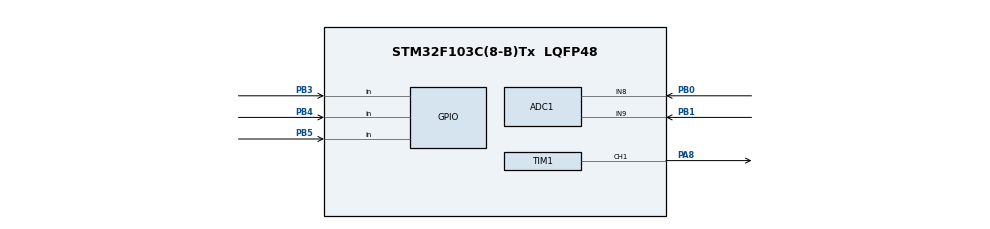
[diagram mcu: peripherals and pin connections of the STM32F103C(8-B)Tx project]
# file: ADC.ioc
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ADC1.Channel-4\#ChannelRegularConversion=ADC_CHANNEL_9
ADC1.Channel-6\#ChannelRegularConversion=ADC_CHANNEL_8
ADC1.ContinuousConvMode=DISABLE
ADC1.DiscontinuousConvMode=DISABLE
ADC1.NbrOfConversion=2
ADC1.NbrOfConversionFlag=1
ADC1.Rank-4\#ChannelRegularConversion=1
ADC1.Rank-6\#ChannelRegularConversion=2
ADC1.SamplingTime-4\#ChannelRegularConversion=ADC_SAMPLETIME_28CYCLES_5
ADC1.SamplingTime-6\#ChannelRegularConversion=ADC_SAMPLETIME_1CYCLE_5
ADC1.master=1
FREERTOS.BinarySemaphores01=LCD_Semaphoer,Dynamic,NULL
FREERTOS.Events01=window,Dynamic,NULL
FREERTOS.Queues01=Passwors,4,uint8_t,0,Dynamic,NULL,NULL;TempQueue,3,uint32_t,0,Dynamic,NULL,NULL;GasQueue,16,uint32_t,0,Dynamic,NULL,NULL
FREERTOS.Tasks01=KeypadTask,9,128,Keypad_Task,Default,NULL,Dynamic,NULL,NULL;Password,24,128,Password_Task,Default,NULL,Dynamic,NULL,NULL;TempTask,8,128,Temperature_Task,Default,NULL,Dynamic,NULL,NULL;lightTask,8,128,Light_Task,Default,NULL,Dynamic,NULL,NULL;Window,25,64,Window_Task,Default,NULL,Dynamic,NULL,NULL
FREERTOS.configMINIMAL_STACK_SIZE=64
FREERTOS.configTOTAL_HEAP_SIZE=4072
Mcu.Family=STM32F1
Mcu.Name=STM32F103C(8-B)Tx
Mcu.Package=LQFP48
NVIC.ADC1_2_IRQn=true\:5\:0\:false\:false\:true\:true\:true\:true\:true
NVIC.PriorityGroup=NVIC_PRIORITYGROUP_4
PA8.Signal=S_TIM1_CH1
PB0.Signal=ADCx_IN8
PB1.Signal=ADCx_IN9
PB3.Signal=GPIO_Input
PB4.Signal=GPIO_Input
PB5.Signal=GPIO_Input
ProjectManager.HeapSize=0x200
ProjectManager.StackSize=0x400
ProjectManager.TargetToolchain=STM32CubeIDE
RCC.APB1Freq_Value=8000000
RCC.APB2Freq_Value=8000000
RCC.USBFreq_Value=8000000
SH.ADCx_IN8.0=ADC1_IN8,IN8
SH.ADCx_IN9.0=ADC1_IN9,IN9
SH.S_TIM1_CH1.0=TIM1_CH1,PWM Generation1 CH1
TIM1.AutoReloadPreload=TIM_AUTORELOAD_PRELOAD_ENABLE
TIM1.Channel-PWM\ Generation1\ CH1=TIM_CHANNEL_1
VP_FREERTOS_VS_CMSIS_V2.Mode=CMSIS_V2
VP_TIM1_VS_ClockSourceINT.Mode=Internal
board=custom

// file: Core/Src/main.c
/* USER CODE BEGIN Header */
/**
  ******************************************************************************
  * @file           : main.c
  * @brief          : Main program body
  ******************************************************************************
  * @attention
  *
  * Copyright (c) 2023 STMicroelectronics.
  * All rights reserved.
  *
  * This software is licensed under terms that can be found in the LICENSE file
  * in the root directory of this software component.
  * If no LICENSE file comes with this software, it is provided AS-IS.
  *
  ******************************************************************************
  */
/* USER CODE END Header */
#include "main.h"
#include "cmsis_os.h"
#include "adc.h"
#include "tim.h"
#include "gpio.h"

/* USER CODE BEGIN Includes */
#include "LCD_interface.h"
#include "RCC_interface.h"
#include "queue.h"
/* USER CODE END Includes */

/* USER CODE BEGIN PV */
extern osMessageQueueId_t TempQueueHandle;
extern osMessageQueueId_t GasQueueHandle;

/* USER CODE END PV */

void SystemClock_Config(void);
void MX_FREERTOS_Init(void);

int main(void)
{

  /* MCU Configuration--------------------------------------------------------*/

  /* Reset of all peripherals, Initializes the Flash interface and the Systick. */
  HAL_Init();

  /* USER CODE BEGIN Init */
  int32_t CH1_DC = 0;
	//MRCC_voidInit();
	MRCC_voidPeripheralClockEnable(RCC_APB2,GPIO_A);
	LCD_Init();
	HAL_Delay(100);
	MX_TIM1_Init();
	__HAL_RCC_TIM1_CLK_ENABLE();
	HAL_TIM_PWM_Start(&htim1, TIM_CHANNEL_1);

  /* USER CODE END Init */

  /* Configure the system clock */
  SystemClock_Config();

  /* USER CODE BEGIN SysInit */
  //HAL_ADC_Start_IT(&hadc2);
  /* USER CODE END SysInit */

  /* Initialize all configured peripherals */
  MX_GPIO_Init();
  MX_ADC1_Init();
  //MX_TIM1_Init();

  /* Init scheduler */
  osKernelInitialize();  /* Call init function for freertos objects (in freertos.c) */
  MX_FREERTOS_Init();

  /* Start scheduler */
  osKernelStart();
  /* We should never get here as control is now taken by the scheduler */
  /* Infinite loop */
  while (1)
  {

  }
}

void SystemClock_Config(void)
{
  RCC_OscInitTypeDef RCC_OscInitStruct = {0};
  RCC_ClkInitTypeDef RCC_ClkInitStruct = {0};
  RCC_PeriphCLKInitTypeDef PeriphClkInit = {0};

  /** Initializes the RCC Oscillators according to the specified parameters
  * in the RCC_OscInitTypeDef structure.
  */
  RCC_OscInitStruct.OscillatorType = RCC_OSCILLATORTYPE_HSI;
  RCC_OscInitStruct.HSIState = RCC_HSI_ON;
  RCC_OscInitStruct.HSICalibrationValue = RCC_HSICALIBRATION_DEFAULT;
  RCC_OscInitStruct.PLL.PLLState = RCC_PLL_NONE;
  if (HAL_RCC_OscConfig(&RCC_OscInitStruct) != HAL_OK)
  {
    Error_Handler();
  }

  /** Initializes the CPU, AHB and APB buses clocks
  */
  RCC_ClkInitStruct.ClockType = RCC_CLOCKTYPE_HCLK|RCC_CLOCKTYPE_SYSCLK
                              |RCC_CLOCKTYPE_PCLK1|RCC_CLOCKTYPE_PCLK2;
  RCC_ClkInitStruct.SYSCLKSource = RCC_SYSCLKSOURCE_HSI;
  RCC_ClkInitStruct.AHBCLKDivider = RCC_SYSCLK_DIV1;
  RCC_ClkInitStruct.APB1CLKDivider = RCC_HCLK_DIV1;
  RCC_ClkInitStruct.APB2CLKDivider = RCC_HCLK_DIV1;

  if (HAL_RCC_ClockConfig(&RCC_ClkInitStruct, FLASH_LATENCY_0) != HAL_OK)
  {
    Error_Handler();
  }
  PeriphClkInit.PeriphClockSelection = RCC_PERIPHCLK_ADC;
  PeriphClkInit.AdcClockSelection = RCC_ADCPCLK2_DIV2;
  if (HAL_RCCEx_PeriphCLKConfig(&PeriphClkInit) != HAL_OK)
  {
    Error_Handler();
  }
}

/* USER CODE BEGIN 4 */
void HAL_ADC_ConvCpltCallback(ADC_HandleTypeDef* hadc)
{
	BaseType_t xHigherPriorityTaskWoken;

	/* We have not woken a task at the start of the ISR. */
	xHigherPriorityTaskWoken = pdFALSE;
	uint32_t ADC_Result1 = 0;
	uint32_t ADC_Result2 = 0;

		ADC_Result1 = HAL_ADC_GetValue(&hadc1);
		xQueueSendToFrontFromISR(TempQueueHandle,(void*)&ADC_Result1,&xHigherPriorityTaskWoken);

		ADC_Result2 = HAL_ADC_GetValue(&hadc1);

		xQueueSendToFrontFromISR(GasQueueHandle,(void*)&ADC_Result2,&xHigherPriorityTaskWoken);

}
/* USER CODE END 4 */

void Error_Handler(void)
{
  __disable_irq();
  while (1)
  {
  }
}

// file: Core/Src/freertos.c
/* USER CODE BEGIN Header */
/**
  ******************************************************************************
  * File Name          : freertos.c
  * Description        : Code for freertos applications
  ******************************************************************************
  * @attention
  *
  * Copyright (c) 2023 STMicroelectronics.
  * All rights reserved.
  *
  * This software is licensed under terms that can be found in the LICENSE file
  * in the root directory of this software component.
  * If no LICENSE file comes with this software, it is provided AS-IS.
  *
  ******************************************************************************
  */
/* USER CODE END Header */

#include "FreeRTOS.h"
#include "task.h"
#include "main.h"
#include "cmsis_os.h"

/* USER CODE BEGIN Includes */
#include "LCD_interface.h"
#include "queue.h"
#include "event_groups.h"
/* USER CODE END Includes */

/* USER CODE BEGIN PTD */
typedef enum {
	FAN_MAX_SPEED,
	FAN_HAIF_SPEED,
	FAN_LOW_SPEED
}fanSpeed_t;
/* USER CODE END PTD */

/* USER CODE BEGIN Variables */
uint8_t correctPasword[4]={1,1,1,1};
uint8_t enteredPassword[4]={0};
extern ADC_HandleTypeDef hadc1;

/* USER CODE END Variables */
/* Definitions for KeypadTask */
osThreadId_t KeypadTaskHandle;
const osThreadAttr_t KeypadTask_attributes = {
  .name = "KeypadTask",
  .stack_size = 128 * 4,
  .priority = (osPriority_t) osPriorityLow1,
};
/* Definitions for Password */
osThreadId_t PasswordHandle;
const osThreadAttr_t Password_attributes = {
  .name = "Password",
  .stack_size = 128 * 4,
  .priority = (osPriority_t) osPriorityNormal,
};
/* Definitions for TempTask */
osThreadId_t TempTaskHandle;
const osThreadAttr_t TempTask_attributes = {
  .name = "TempTask",
  .stack_size = 128 * 4,
  .priority = (osPriority_t) osPriorityLow,
};
/* Definitions for lightTask */
osThreadId_t lightTaskHandle;
const osThreadAttr_t lightTask_attributes = {
  .name = "lightTask",
  .stack_size = 128 * 4,
  .priority = (osPriority_t) osPriorityLow,
};
/* Definitions for Window */
osThreadId_t WindowHandle;
const osThreadAttr_t Window_attributes = {
  .name = "Window",
  .stack_size = 64 * 4,
  .priority = (osPriority_t) osPriorityNormal1,
};
/* Definitions for Passwors */
osMessageQueueId_t PassworsHandle;
const osMessageQueueAttr_t Passwors_attributes = {
  .name = "Passwors"
};
/* Definitions for TempQueue */
osMessageQueueId_t TempQueueHandle;
const osMessageQueueAttr_t TempQueue_attributes = {
  .name = "TempQueue"
};
/* Definitions for GasQueue */
osMessageQueueId_t GasQueueHandle;
const osMessageQueueAttr_t GasQueue_attributes = {
  .name = "GasQueue"
};
/* Definitions for LCD_Semaphoer */
osSemaphoreId_t LCD_SemaphoerHandle;
const osSemaphoreAttr_t LCD_Semaphoer_attributes = {
  .name = "LCD_Semaphoer"
};
/* Definitions for window */
osEventFlagsId_t windowHandle;
const osEventFlagsAttr_t window_attributes = {
  .name = "window"
};

/* USER CODE BEGIN FunctionPrototypes */
void ADC_Start_IT(uint8_t channel);
uint8_t CheckPassword(uint8_t* ptAPassword);
/* USER CODE END FunctionPrototypes */

void Keypad_Task(void *argument);
void Password_Task(void *argument);
void Temperature_Task(void *argument);
void Light_Task(void *argument);
void Window_Task(void *argument);

void MX_FREERTOS_Init(void); /* (MISRA C 2004 rule 8.1) */

void MX_FREERTOS_Init(void) {

  /* Create the semaphores(s) */
  /* creation of LCD_Semaphoer */
  LCD_SemaphoerHandle = osSemaphoreNew(1, 1, &LCD_Semaphoer_attributes);

  /* Create the queue(s) */
  /* creation of Passwors */
  PassworsHandle = osMessageQueueNew (4, sizeof(uint8_t), &Passwors_attributes);

  /* creation of TempQueue */
  TempQueueHandle = osMessageQueueNew (3, sizeof(uint32_t), &TempQueue_attributes);

  /* creation of GasQueue */
  GasQueueHandle = osMessageQueueNew (16, sizeof(uint32_t), &GasQueue_attributes);

  /* Create the thread(s) */
  /* creation of KeypadTask */
  KeypadTaskHandle = osThreadNew(Keypad_Task, NULL, &KeypadTask_attributes);

  /* creation of Password */
  PasswordHandle = osThreadNew(Password_Task, NULL, &Password_attributes);

  /* creation of TempTask */
  TempTaskHandle = osThreadNew(Temperature_Task, NULL, &TempTask_attributes);

  /* creation of lightTask */
  lightTaskHandle = osThreadNew(Light_Task, NULL, &lightTask_attributes);

  /* creation of Window */
  WindowHandle = osThreadNew(Window_Task, NULL, &Window_attributes);

  /* Create the event(s) */
  /* creation of window */
  windowHandle = osEventFlagsNew(&window_attributes);

}

void Keypad_Task(void *argument)
{
  /* USER CODE BEGIN Keypad_Task */
	uint8_t IncremmentButton=0;
	uint8_t DecremmentButton=0;
	uint8_t EnterButton=0;
	uint8_t DigitNumberPass=0;
	uint8_t ConfirmDigit=99;
  /* Infinite loop */
  for(;;)
  {
		//vTaskSuspend(PasswordHandle);
		//vTaskSuspend(KeypadTaskHandle);
	  IncremmentButton = HAL_GPIO_ReadPin(GPIOB, GPIO_PIN_3);
	  DecremmentButton =  HAL_GPIO_ReadPin(GPIOB, GPIO_PIN_4);
	  EnterButton = HAL_GPIO_ReadPin(GPIOB, GPIO_PIN_5);
	  if(IncremmentButton == 1)
	  {
		  if(DigitNumberPass<9)
		  {
			  DigitNumberPass++;
		  }
		  else if(DigitNumberPass == 9)
		  {
			  DigitNumberPass = 0;
		  }
		  xQueueSendToFront(PassworsHandle,(void*)&DigitNumberPass,portMAX_DELAY);
	  }
	  else if(DecremmentButton == 1)
	  {
		  if(DigitNumberPass == 0)
		  {
			  DigitNumberPass = 9;
		  }
		  else{
			  DigitNumberPass--;
		  }
		  xQueueSendToFront(PassworsHandle,(void*)&DigitNumberPass,portMAX_DELAY);

	  }
	  if(EnterButton == 1)
	  {
		  xQueueSendToFront(PassworsHandle,(void*)&ConfirmDigit,portMAX_DELAY);
	  }
	  HAL_Delay(150);
	  //osDelay(1);
  }
  /* USER CODE END Keypad_Task */
}

void Password_Task(void *argument)
{
  /* USER CODE BEGIN Password_Task */
	uint8_t DigitNumberPass=0;
	BaseType_t RetVal=pdFALSE;
	uint8_t LCDPassPos = 1;
  /* Infinite loop */
  for(;;)
  {
	  LCD_Send_String_Pos("Check password", 1, 1);
	  RetVal = xQueueReceive(PassworsHandle, &DigitNumberPass, portMAX_DELAY);
	  if(RetVal == pdTRUE)
	  {
		  if(DigitNumberPass != 99){
			  LCD_Send_Number_Pos(DigitNumberPass, 2, LCDPassPos);
			  enteredPassword[LCDPassPos-1]=DigitNumberPass;

		  }
		  else if(DigitNumberPass == 99)
		  {

			  LCDPassPos++;
		  }
		  if(LCDPassPos==6)
		  {
				if (CheckPassword(enteredPassword) == 1)
				{

					LCD_Send_Command(_LCD_CLEAR);
					LCD_Send_String_Pos("correct password", 1, 1);
					HAL_Delay(3000);
					LCD_Send_Command(_LCD_CLEAR);
					LCD_Send_String_Pos("Door is opened", 1, 1);
					vTaskSuspend(PasswordHandle);
					vTaskSuspend(KeypadTaskHandle);
				}
				else
				{

					LCD_Send_Command(_LCD_CLEAR);
					LCD_Send_String_Pos("wrong password", 1, 1);
					HAL_Delay(3000);
					LCD_Send_String_Pos("Check password", 1, 1);
					LCDPassPos=1;
					enteredPassword[0]=0;
					enteredPassword[1]=0;
					enteredPassword[2]=0;
					enteredPassword[3]=0;
				}
		  }
	  }
	  else
	  {

	  }

  }
  /* USER CODE END Password_Task */
}

void Temperature_Task(void *argument)
{
  /* USER CODE BEGIN Temperature_Task */
	BaseType_t RetVal=pdFALSE;
	uint32_t Temp=0;
  /* Infinite loop */
  for(;;)
  {
	  HAL_ADC_Start_IT(&hadc1);
	  //HAL_ADC_Start_IT(&hadc1);
	  RetVal = xQueueReceive(TempQueueHandle, &Temp, portMAX_DELAY);
	  if(RetVal == pdTRUE)
	  {
			osSemaphoreAcquire(LCD_SemaphoerHandle,portMAX_DELAY);
			LCD_Send_String_Pos("Temp: ", 1, 1);
			LCD_Send_Number_Pos(Temp / 80, 2, 1);

			Temp = Temp / 80;
			if (Temp > 35) {
				FanSpeed(FAN_MAX_SPEED);
			} else if (Temp > 20 && Temp < 35) {
				FanSpeed(FAN_HAIF_SPEED);
			} else {
				FanSpeed(FAN_LOW_SPEED);
			}
			osSemaphoreRelease(LCD_SemaphoerHandle);
	  }
	  else
	  {

	  }
      osDelay(100);
  }
  /* USER CODE END Temperature_Task */
}

void Light_Task(void *argument)
{
  /* USER CODE BEGIN Light_Task */
	BaseType_t RetVal=pdFALSE;
	uint32_t Gas=0;
  /* Infinite loop */
  for(;;)
  {
	  //HAL_ADC_Start_IT(&hadc1);
	  RetVal = xQueueReceive(GasQueueHandle, &Gas, portMAX_DELAY);
	  if(RetVal == pdTRUE)
	  {
		  osSemaphoreAcquire(LCD_SemaphoerHandle,portMAX_DELAY);

		  LCD_Send_String_Pos("Gas:      ", 1, 7);
		  LCD_Send_Number_Pos(Gas / 15, 2, 7);
		  Gas = Gas / 15;
		  if(Gas>200)
		  {
			  xEventGroupSetBits(windowHandle,0x01);
		  }
		  osSemaphoreRelease(LCD_SemaphoerHandle);
	  }
	  else
	  {

	  }
	  osDelay(100);
  }
  /* USER CODE END Light_Task */
}

void Window_Task(void *argument)
{
  /* USER CODE BEGIN Window_Task */
	BaseType_t RetVal=pdFALSE;
	uint32_t Gas=0;
	EventBits_t uxBits;
  /* Infinite loop */
  for(;;)
  {
		uxBits = xEventGroupWaitBits(windowHandle, 0x01, pdTRUE, pdTRUE,
				portMAX_DELAY);
		if(uxBits & 1)
		{
			osSemaphoreAcquire(LCD_SemaphoerHandle, portMAX_DELAY);
			HAL_Delay(500);
			LCD_Send_String_Pos("gas leakage      ", 1, 1);
			LCD_Send_String_Pos("Window is opened", 2, 1);
			HAL_Delay(2500);
			LCD_Send_Command(_LCD_CLEAR);
			osSemaphoreRelease(LCD_SemaphoerHandle);
		}

  }
  /* USER CODE END Window_Task */
}

/* USER CODE BEGIN Application */
uint8_t CheckPassword(uint8_t* ptAPassword)
{
	uint8_t CheckVar=0;
	for(uint8_t counter=0;counter<4;counter++)
	{
		if(ptAPassword[counter] == correctPasword[counter])
		{
			CheckVar++;
		}
	}
	if(CheckVar == 4)
	{
		return 1;
	}
	else
	{
		return 0;
	}
}

void FanSpeed(fanSpeed_t speed)
{
	switch (speed) {
	case FAN_MAX_SPEED:
		TIM1->CCR1 = 65535;
		break;
	case FAN_HAIF_SPEED:
		TIM1->CCR1 = 65535/3;
		break;
	case FAN_LOW_SPEED:
		TIM1->CCR1 = 65535/35;
		break;
	}
}
/* USER CODE END Application */
